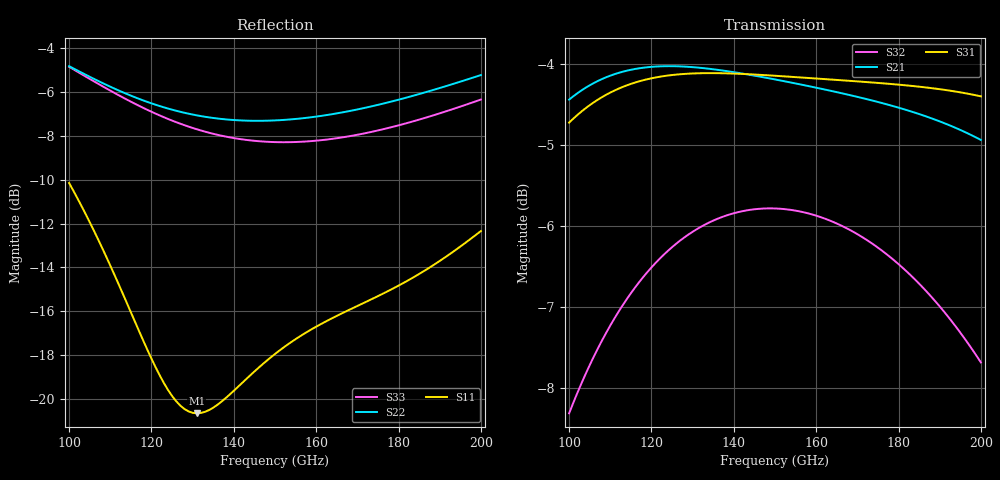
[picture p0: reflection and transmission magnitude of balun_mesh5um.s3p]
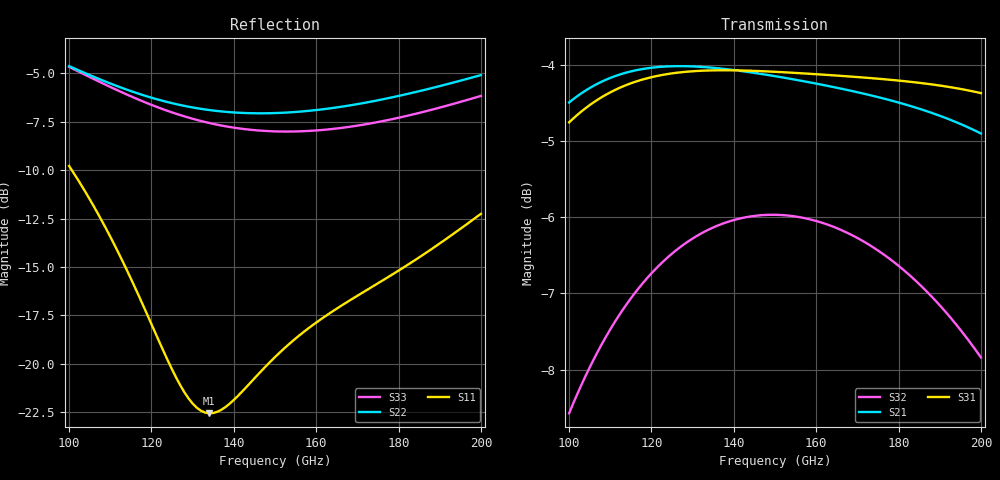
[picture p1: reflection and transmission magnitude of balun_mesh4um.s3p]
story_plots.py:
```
#!/usr/bin/env python
"""Plots and numbers for README.md (D-band balun mesh study).

Reads the de-embedded Touchstone files in results/snp/ and writes two figures
to results/plots/ (new files only, the plots of analyze_convergence.py are not
touched):

  story_uniform_inband.png   - balun figures of merit vs. frequency, uniform
                               mesh 5 -> 1 um, target band 140-170 GHz shaded
  story_best_answers.png     - 2 um working point vs. 1 um, 2 um/order 3, AMR
  story_accuracy_vs_cost.png - Max|dS| vs. the 1 um result, over solve time,
                               for all variants

It also prints the in-band numbers quoted in README.md.

Balun figures of merit (port 1 = input, ports 2/3 = balanced outputs):
  insertion loss   IL = -10*log10(|S21|^2 + |S31|^2)   power not delivered to either output
  amplitude imb.   20*log10(|S21| / |S31|)
  phase imbalance  180 deg - |angle(S21 / S31)|         0 deg = ideal anti-phase
"""
import os
import numpy as np
import skrf as rf
import matplotlib
matplotlib.use("Agg")
import matplotlib.pyplot as plt

HERE = os.path.dirname(os.path.abspath(__file__))
SNP_DIR = os.path.join(HERE, "snp")
PLOT_DIR = os.path.join(HERE, "plots")

BAND = (140e9, 170e9)

# uniform sweep, coarse -> fine; ordinal blue ramp, light -> dark
UNIFORM = [
    ("5 µm", "balun_mesh5um.s3p", "#86b6ef"),
    ("4 µm", "balun_mesh4um.s3p", "#5598e7"),
    ("3 µm", "balun_mesh3um.s3p", "#2a78d6"),
    ("2 µm", "balun_mesh2um.s3p", "#1c5cab"),
    ("1 µm", "balun_mesh1um.s3p", "#0d366b"),
]
ORDER3 = ("2 µm, order 3", "balun_mesh2um_order3.s3p")
AMR = ("AMR final", "balun_amr5_final.s3p")
REFERENCE = "balun_mesh1um.s3p"

# solve times in minutes, from the Palace logs of each run
SOLVE_MIN = {
    "balun_mesh5um.s3p": 11.0 / 60,
    "balun_mesh4um.s3p": 12.1 / 60,
    "balun_mesh3um.s3p": 14.3 / 60,
    "balun_mesh2um.s3p": 20.7 / 60,
    "balun_mesh1um.s3p": 43.2 / 60,
    "balun_mesh2um_order3.s3p": 1 + 11 / 60,
    # AMR: Palace reports elapsed time cumulatively, so the final value covers all 5 iterations
    "balun_amr5_final.s3p": 49 + 59 / 60,
}

INK = "#0b0b0b"
INK2 = "#52514e"
GRID = "#e4e3de"
ORANGE = "#eb6834"
AQUA = "#1baf7a"


def minutes_label(m):
    """solve time for a plot label: 1.5 min, 27 min"""
    return f"{m:.1f} min" if m < 10 else f"{m:.0f} min"


def load(fname):
    return rf.Network(os.path.join(SNP_DIR, fname))


def merits(ntw):
    s21 = ntw.s[:, 1, 0]
    s31 = ntw.s[:, 2, 0]
    s11 = ntw.s[:, 0, 0]
    return {
        "IL": -10 * np.log10(np.abs(s21) ** 2 + np.abs(s31) ** 2),
        "S11": 20 * np.log10(np.abs(s11)),
        "amp": 20 * np.log10(np.abs(s21) / np.abs(s31)),
        "phase": 180 - np.abs(np.angle(s21 / s31, deg=True)),
    }


def style(ax):
    ax.grid(True, color=GRID, linewidth=0.8)
    ax.set_axisbelow(True)
    for side in ("top", "right"):
        ax.spines[side].set_visible(False)
    for side in ("left", "bottom"):
        ax.spines[side].set_color(INK2)
    ax.tick_params(colors=INK2, labelsize=9)
    ax.axvspan(BAND[0] / 1e9, BAND[1] / 1e9, color="#f1efe8", zorder=0)


def plot_uniform_inband():
    panels = [
        ("IL", "Insertion loss (dB)"),
        ("S11", "Input match |S11| (dB)"),
        ("amp", "Amplitude imbalance (dB)"),
        ("phase", "Phase imbalance (deg)"),
    ]
    fig, axes = plt.subplots(2, 2, figsize=(10, 6.6), sharex=True)
    for label, fname, color in UNIFORM:
        ntw = load(fname)
        f = ntw.f / 1e9
        m = merits(ntw)
        for ax, (key, _) in zip(axes.flat, panels):
            ax.plot(f, m[key], color=color, linewidth=2, label=label)
    for ax, (_, title) in zip(axes.flat, panels):
        style(ax)
        ax.set_title(title, loc="left", fontsize=11, color=INK)
    for ax in axes[1]:
        ax.set_xlabel("Frequency (GHz)", color=INK2)
    axes[0, 0].text(155, 0.97, "target band", transform=axes[0, 0].get_xaxis_transform(),
                    ha="center", va="top", fontsize=8, color=INK2)
    handles, labels = axes[0, 0].get_legend_handles_labels()
    fig.legend(handles, labels, loc="upper center", ncol=5, frameon=False, fontsize=9,
               title="refined_cellsize (uniform, order 2)", title_fontsize=9)
    fig.tight_layout(rect=(0, 0, 1, 0.92))
    out = os.path.join(PLOT_DIR, "story_uniform_inband.png")
    fig.savefig(out, dpi=130, facecolor="white")
    plt.close(fig)
    print("wrote", out)


def plot_best_answers():
    """2 um working point vs. the three most expensive runs, IL and S11 only."""
    series = [
        ("2 µm (working point)", "balun_mesh2um.s3p", "#86b6ef", "-"),
        ("1 µm", "balun_mesh1um.s3p", "#0d366b", "-"),
        (ORDER3[0], ORDER3[1], ORANGE, "--"),
        (AMR[0], AMR[1], AQUA, ":"),
    ]
    panels = [("IL", "Insertion loss (dB)"), ("S11", "Input match |S11| (dB)")]
    fig, axes = plt.subplots(1, 2, figsize=(10, 3.8), sharex=True)
    for label, fname, color, ls in series:
        ntw = load(fname)
        m = merits(ntw)
        for ax, (key, _) in zip(axes, panels):
            ax.plot(ntw.f / 1e9, m[key], color=color, linewidth=2, linestyle=ls, label=label)
    for ax, (_, title) in zip(axes, panels):
        style(ax)
        ax.set_title(title, loc="left", fontsize=11, color=INK)
        ax.set_xlabel("Frequency (GHz)", color=INK2)
    handles, labels = axes[0].get_legend_handles_labels()
    fig.legend(handles, labels, loc="upper center", ncol=4, frameon=False, fontsize=9)
    fig.tight_layout(rect=(0, 0, 1, 0.9))
    out = os.path.join(PLOT_DIR, "story_best_answers.png")
    fig.savefig(out, dpi=130, facecolor="white")
    plt.close(fig)
    print("wrote", out)


def plot_accuracy_vs_cost():
    ref = load(REFERENCE)
    fig, ax = plt.subplots(figsize=(8, 4.6))
    style(ax)
    ax.patches[-1].remove()  # no band shading on a time axis

    xs, ys = [], []
    for label, fname, color in UNIFORM[:-1]:
        d = np.abs(load(fname).s - ref.s).max()
        xs.append(SOLVE_MIN[fname])
        ys.append(d)
    ax.plot(xs, ys, color="#2a78d6", linewidth=2, marker="o", markersize=8, zorder=3,
            label="uniform mesh, order 2")
    for (label, _, _), x, y in zip(UNIFORM[:-1], xs, ys):
        ax.annotate(label, (x, y), textcoords="offset points", xytext=(8, 4), fontsize=9, color=INK)

    for (label, fname), color, marker in ((ORDER3, ORANGE, "s"), (AMR, AQUA, "D")):
        d = np.abs(load(fname).s - ref.s).max()
        ax.plot([SOLVE_MIN[fname]], [d], color=color, marker=marker, markersize=9,
                linestyle="none", zorder=3, label=label)
        ax.annotate(label, (SOLVE_MIN[fname], d), textcoords="offset points",
                    xytext=(8, 4), fontsize=9, color=INK)

    ax.axvline(SOLVE_MIN[REFERENCE], color=INK2, linewidth=1, linestyle=":")
    ax.text(SOLVE_MIN[REFERENCE], 0.112, f" 1 µm reference run ({minutes_label(SOLVE_MIN[REFERENCE])})", fontsize=8, color=INK2,
            va="top")

    ax.set_xscale("log")
    ax.set_xlim(0.1, 100)
    ax.set_ylim(0, 0.115)
    ax.set_xticks([0.1, 0.2, 0.5, 1, 2, 5, 10, 20, 50, 100])
    ax.set_xticklabels(["0.1", "0.2", "0.5", "1", "2", "5", "10", "20", "50", "100"])
    ax.set_xlabel("Solve time (min, log scale; AMR = all 5 iterations)", color=INK2)
    ax.set_ylabel("Max |ΔS| vs. 1 µm result", color=INK2)
    ax.legend(frameon=False, fontsize=9, loc="upper right", bbox_to_anchor=(1.0, 0.9))
    fig.tight_layout()
    out = os.path.join(PLOT_DIR, "story_accuracy_vs_cost.png")
    fig.savefig(out, dpi=130, facecolor="white")
    plt.close(fig)
    print("wrote", out)


def print_numbers():
    ref = load(REFERENCE)
    rows = [(l, f) for l, f, _ in UNIFORM] + [ORDER3, AMR]
    print()
    print("In-band (140-170 GHz) figures of merit; worst case over the band")
    print(f"{'variant':15s} {'IL min..max':>14s} {'S11 max':>8s} {'|amp| max':>9s} {'phase max':>9s} {'MaxdS vs 1um':>12s}")
    for label, fname in rows:
        ntw = load(fname)
        band = (ntw.f >= BAND[0]) & (ntw.f <= BAND[1])
        m = merits(ntw)
        d = np.abs(ntw.s - ref.s).max()
        print(f"{label:15s} {m['IL'][band].min():6.2f}..{m['IL'][band].max():5.2f} "
              f"{m['S11'][band].max():8.1f} {np.abs(m['amp'][band]).max():9.2f} "
              f"{m['phase'][band].max():9.1f} {d:12.4f}")
    # mutual agreement of the three most expensive answers
    print()
    print("Mutual Max|dS| of the three best answers:")
    best = {"1 µm": REFERENCE, ORDER3[0]: ORDER3[1], AMR[0]: AMR[1]}
    names = list(best)
    for i in range(len(names)):
        for j in range(i + 1, len(names)):
            d = np.abs(load(best[names[i]]).s - load(best[names[j]]).s).max()
            print(f"  {names[i]} vs {names[j]}: {d:.4f}")


if __name__ == "__main__":
    os.makedirs(PLOT_DIR, exist_ok=True)
    plot_uniform_inband()
    plot_best_answers()
    plot_accuracy_vs_cost()
    print_numbers()
```
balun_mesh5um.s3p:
! Created with skrf 2.2.0 (http://scikit-rf.org).
# GHz S DB R 50.0
! Port[1] = P1
! Port[2] = P2
! Port[3] = P3
!freq dBS11 angS11 dBS12 angS12 dBS13 angS13
! dBS21 angS21 dBS22 angS22 dBS23 angS23
! dBS31 angS31 dBS32 angS32 dBS33 angS33
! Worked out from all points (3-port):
!   101 points, 100 GHz to 200 GHz, reference 50 ohm
!   strongest paths, dB at 100 GHz, 125 GHz, 150 GHz, 175 GHz, 200 GHz:
!     S31: -4.7, -4.1, -4.1, -4.2, -4.4
!     S21: -4.4, -4.0, -4.2, -4.5, -4.9
!     S32: -8.3, -6.3, -5.8, -6.3, -7.7
!   lowest |S11| = -20.6 dB at 131 GHz (marker M1), VSWR 1.20, Z = 41.7 + j1.76 ohm
!   |S11| at or under -10 dB: start of sweep to end of sweep
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100  -10.15 132.8  -4.44 -16.1  -4.73 159.4
     -4.44 -16.1  -4.83 60.0  -8.32 89.0
     -4.73 159.4  -8.32 89.0  -4.86 48.4
123  -19.26 143.5  -4.03 -50.8  -4.15 122.1
     -4.03 -50.8  -6.71 41.7  -6.36 53.8
     -4.15 122.1  -6.36 53.8  -7.16 26.0
131  -20.64 167.0  -4.05 -61.5  -4.12 110.6
     -4.05 -61.5  -7.07 36.3  -6.04 42.7
     -4.12 110.6  -6.04 42.7  -7.71 19.7
163  -16.40 -158.0  -4.33 -100.3  -4.19 68.9
     -4.33 -100.3  -7.05 12.6  -5.93 2.6
     -4.19 68.9  -5.93 2.6  -8.17 -4.6
200  -12.34 -151.7  -4.94 -144.1  -4.40 22.7
     -4.94 -144.1  -5.24 -22.4  -7.69 -40.8
     -4.40 22.7  -7.69 -40.8  -6.35 -37.8
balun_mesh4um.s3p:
! Created with skrf 2.2.0 (http://scikit-rf.org).
# GHz S DB R 50.0
! Port[1] = P1
! Port[2] = P2
! Port[3] = P3
!freq dBS11 angS11 dBS12 angS12 dBS13 angS13
! dBS21 angS21 dBS22 angS22 dBS23 angS23
! dBS31 angS31 dBS32 angS32 dBS33 angS33
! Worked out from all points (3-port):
!   101 points, 100 GHz to 200 GHz, reference 50 ohm
!   strongest paths, dB at 100 GHz, 125 GHz, 150 GHz, 175 GHz, 200 GHz:
!     S31: -4.8, -4.1, -4.1, -4.2, -4.4
!     S21: -4.5, -4.0, -4.1, -4.4, -4.9
!     S32: -8.6, -6.5, -6.0, -6.4, -7.8
!   lowest |S11| = -22.5 dB at 134 GHz (marker M1), VSWR 1.16, Z = 43.2 + j1.51 ohm
!   |S11| at or under -10 dB: 100.6 GHz to end of sweep
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100  -9.79 131.4  -4.49 -15.1  -4.75 160.6
     -4.49 -15.1  -4.64 60.0  -8.58 89.4
     -4.75 160.6  -8.58 89.4  -4.68 48.8
118  -16.99 125.3  -4.05 -42.8  -4.19 131.0
     -4.05 -42.8  -6.14 45.0  -6.86 61.6
     -4.19 131.0  -6.86 61.6  -6.47 30.5
134  -22.55 166.5  -4.03 -64.6  -4.07 107.6
     -4.03 -64.6  -6.90 33.8  -6.16 39.3
     -4.07 107.6  -6.16 39.3  -7.57 17.6
165  -17.15 -150.9  -4.30 -102.2  -4.14 67.4
     -4.30 -102.2  -6.77 10.7  -6.14 0.7
     -4.14 67.4  -6.14 0.7  -7.85 -5.9
200  -12.26 -147.5  -4.90 -143.9  -4.37 23.5
     -4.90 -143.9  -5.10 -22.0  -7.84 -40.4
     -4.37 23.5  -7.84 -40.4  -6.18 -37.0
